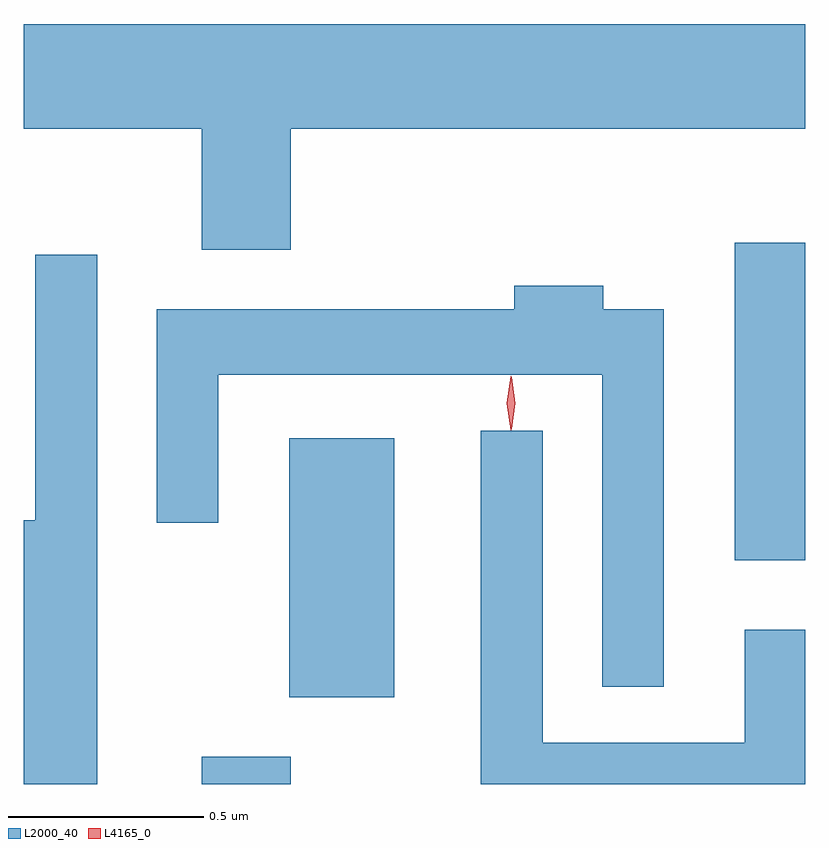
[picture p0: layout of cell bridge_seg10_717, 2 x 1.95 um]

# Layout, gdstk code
import gdstk
lib = gdstk.Library(unit=1e-6, precision=1e-09)
def R(c, l, rs):  # rectangles x0, y0, x1, y1
    for r in rs: c.add(gdstk.rectangle(r[:2], r[2:], *l))
def P(c, l, *ps):  # polygons
    for p in ps: c.add(gdstk.Polygon(p, *l))
L2000_40 = (2000, 40)
L4165_0 = (4165, 0)

bridge_seg10_717 = lib.new_cell('bridge_seg10_717')
R(bridge_seg10_717, L2000_40, [(989.821,2096.699,990.049,2096.769), (990.046,2096.921,990.314,2097.584), (991.186,2097.271,991.366,2098.084)])
P(bridge_seg10_717, L2000_40, [(990.049,2098.376),(991.366,2098.376),(991.366,2098.644),(989.366,2098.644),(989.366,2098.376),(989.821,2098.376),(989.821,2098.066),(990.049,2098.066)],
  [(989.554,2098.053),(989.396,2098.053),(989.396,2097.374),(989.366,2097.374),(989.366,2096.699),(989.554,2096.699)],
  [(991.004,2097.914),(990.849,2097.914),(990.849,2097.974),(990.621,2097.974),(990.621,2097.914),(989.706,2097.914),(989.706,2097.368),(989.864,2097.368),(989.864,2097.746),(990.846,2097.746),(990.846,2096.948),(991.004,2096.948)],
  [(991.366,2097.094),(991.211,2097.094),(991.211,2096.804),(990.694,2096.804),(990.694,2097.603),(990.536,2097.603),(990.536,2096.699),(991.366,2096.699)])
P(bridge_seg10_717, L4165_0, [(990.612,2097.604),(990.612,2097.604),(990.602,2097.673),(990.612,2097.742),(990.612,2097.743),(990.613,2097.742),(990.622,2097.673),(990.613,2097.604)],
  [(990.614,2097.607),(990.614,2097.608),(990.604,2097.674),(990.614,2097.74),(990.614,2097.741),(990.615,2097.74),(990.624,2097.674),(990.615,2097.608)])

lib.write_gds('bridge_seg10_717.gds')
